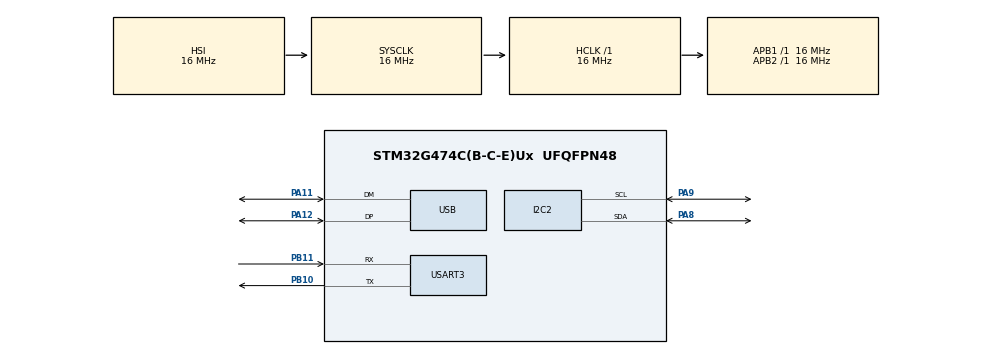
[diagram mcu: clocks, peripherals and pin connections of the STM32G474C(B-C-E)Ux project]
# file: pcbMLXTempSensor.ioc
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I2C2.Timing=0x00503D58
Mcu.Family=STM32G4
Mcu.Name=STM32G474C(B-C-E)Ux
Mcu.Package=UFQFPN48
NVIC.PriorityGroup=NVIC_PRIORITYGROUP_4
NVIC.USB_LP_IRQn=true\:0\:0\:false\:false\:true\:false\:true\:true
PA11.Mode=Device
PA11.Signal=USB_DM
PA12.Mode=Device
PA12.Signal=USB_DP
PA8.Mode=I2C
PA8.Signal=I2C2_SDA
PA9.Mode=I2C
PA9.Signal=I2C2_SCL
PB10.Mode=Asynchronous
PB10.Signal=USART3_TX
PB11.Mode=Asynchronous
PB11.Signal=USART3_RX
ProjectManager.HeapSize=0x200
ProjectManager.StackSize=0x400
ProjectManager.TargetToolchain=STM32CubeIDE
RCC.AHBFreq_Value=16000000
RCC.APB1Freq_Value=16000000
RCC.APB1TimFreq_Value=16000000
RCC.APB2Freq_Value=16000000
RCC.APB2TimFreq_Value=16000000
RCC.CortexFreq_Value=16000000
RCC.EXTERNAL_CLOCK_VALUE=12288000
RCC.HCLKFreq_Value=16000000
RCC.HSE_VALUE=8000000
RCC.HSI48_VALUE=48000000
RCC.HSI_VALUE=16000000
RCC.LSE_VALUE=32768
RCC.PLLN=12
RCC.PLLQ=RCC_PLLQ_DIV4
RCC.SYSCLKFreq_VALUE=16000000
RCC.USBFreq_Value=48000000
RCC.VCOOutputFreq_Value=192000000
USART3.VirtualMode-Asynchronous=VM_ASYNC
USB_DEVICE.CLASS_NAME_FS=CDC
USB_DEVICE.VirtualMode=Cdc
USB_DEVICE.VirtualModeFS=Cdc_FS
VP_SYS_VS_DBSignals.Mode=DisableDeadBatterySignals
VP_USB_DEVICE_VS_USB_DEVICE_CDC_FS.Mode=CDC_FS
board=custom

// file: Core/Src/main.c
/* USER CODE BEGIN Header */
/**
  ******************************************************************************
  * @file           : main.c
  * @brief          : Main program body
  ******************************************************************************
  * @attention
  *
  * Copyright (c) 2026 STMicroelectronics.
  * All rights reserved.
  *
  * This software is licensed under terms that can be found in the LICENSE file
  * in the root directory of this software component.
  * If no LICENSE file comes with this software, it is provided AS-IS.
  *
  ******************************************************************************
  */
/* USER CODE END Header */
#include "main.h"
#include "usb_device.h"

/* USER CODE BEGIN Includes */
#include <stdio.h>
#include <string.h>
#include <stdlib.h>
//#include "ssd1306.h"
#include "usbd_cdc_if.h"
/* USER CODE END Includes */

/* USER CODE BEGIN PD */
#define MLX90614_ADDR   (0x5A << 1)     // 0xB4
#define MLX90614_TOBJ1  0x07

/* USER CODE END PD */

I2C_HandleTypeDef hi2c2;

UART_HandleTypeDef huart3;

/* USER CODE BEGIN PV */

uint8_t i2cdata[2];
uint8_t txdata[50] = "Successfully communicating \n\r";
float temperature;
uint16_t raw_temp;
int temp_c_x100;
int temp_f_x100;

/* USER CODE END PV */

void SystemClock_Config(void);
static void MX_GPIO_Init(void);
static void MX_I2C2_Init(void);
static void MX_USART3_UART_Init(void);

/* USER CODE BEGIN 0 */

/**
  * @brief  Transmit a null-terminated string over USB CDC.
  *         Retries if the TX endpoint is busy.
  */
static void CDC_Print(const char *str)
{
    uint8_t retries = 3;
    uint8_t result;
    do {
        result = CDC_Transmit_FS((uint8_t*)str, (uint16_t)strlen(str));
        if (result == USBD_BUSY) HAL_Delay(1);
    } while (result == USBD_BUSY && --retries);
}

/* USER CODE END 0 */

int main(void)
{

  /* MCU Configuration--------------------------------------------------------*/

  /* Reset of all peripherals, Initializes the Flash interface and the Systick. */
  HAL_Init();

  /* Configure the system clock */
  SystemClock_Config();

  /* Initialize all configured peripherals */
  MX_GPIO_Init();
  MX_I2C2_Init();
  MX_USART3_UART_Init();
  MX_USB_Device_Init();
  /* USER CODE BEGIN 2 */

  // Give the host time to enumerate the USB device
  HAL_Delay(1500);

  HAL_StatusTypeDef st;

  st = HAL_I2C_IsDeviceReady(&hi2c2, MLX90614_ADDR, 3, 200);
  if (st == HAL_OK)
  {
      CDC_Print("MLX90614 ready\r\n");
  }
  else
  {
      CDC_Print("MLX90614 NOT ready\r\n");
  }

  //OLED_UI_Init();

  /* USER CODE END 2 */

  /* Infinite loop */
  while (1)
  {

    /* USER CODE BEGIN 3 */
	  HAL_StatusTypeDef st;
	      char msg[96];
	      uint8_t buf[3];   // LSB, MSB, PEC

	      // Check if MLX90614 responds on the bus
	      st = HAL_I2C_IsDeviceReady(&hi2c2, MLX90614_ADDR, 1, 50);
	      if (st != HAL_OK)
	      {
	          snprintf(msg, sizeof(msg),
	                   "MLX not ready st=%d err=%lu\r\n",
	                   (int)st,
	                   (unsigned long)HAL_I2C_GetError(&hi2c2));
	          CDC_Print(msg);
	          HAL_Delay(500);
	          continue;
	      }

	      // Read object temperature register (0x07)
	      st = HAL_I2C_Mem_Read(&hi2c2,
	                            MLX90614_ADDR,
	                            MLX90614_TOBJ1,
	                            I2C_MEMADD_SIZE_8BIT,
	                            buf,
	                            3,      // read 3 bytes: LSB, MSB, PEC
	                            200);

	      if (st == HAL_OK)
	      {
	          raw_temp = ((uint16_t)buf[1] << 8) | buf[0];

	          // TempC * 100 = raw * 2 - 27315
	          temp_c_x100 = (int)raw_temp * 2 - 27315;
	          temp_f_x100 = temp_c_x100 * 9 / 5 + 3200;

	          snprintf(msg, sizeof(msg),
	                   "raw=%u  TempC=%d.%02d C  TempF=%d.%02d F\r\n",
	                   (unsigned)raw_temp,
				       temp_c_x100 / 100,
				       abs(temp_c_x100 % 100),
				       temp_f_x100 / 100,
				       abs(temp_f_x100 % 100));
	      }
	      else
	      {
	          snprintf(msg, sizeof(msg),
	                   "I2C read fail st=%d err=%lu\r\n",
	                   (int)st,
	                   (unsigned long)HAL_I2C_GetError(&hi2c2));
	      }

	      CDC_Print(msg);

	     // OLED_UI_ShowTemps(temp_c_x100, temp_f_x100);

	      HAL_Delay(500);
  }

  /* USER CODE END 3 */
}

void SystemClock_Config(void)
{
  RCC_OscInitTypeDef RCC_OscInitStruct = {0};
  RCC_ClkInitTypeDef RCC_ClkInitStruct = {0};

  /** Configure the main internal regulator output voltage
  */
  HAL_PWREx_ControlVoltageScaling(PWR_REGULATOR_VOLTAGE_SCALE1);

  /** Initializes the RCC Oscillators according to the specified parameters
  * in the RCC_OscInitTypeDef structure.
  */
  RCC_OscInitStruct.OscillatorType = RCC_OSCILLATORTYPE_HSI;
  RCC_OscInitStruct.HSIState = RCC_HSI_ON;
  RCC_OscInitStruct.HSICalibrationValue = RCC_HSICALIBRATION_DEFAULT;
  RCC_OscInitStruct.PLL.PLLState = RCC_PLL_ON;
  RCC_OscInitStruct.PLL.PLLSource = RCC_PLLSOURCE_HSI;
  RCC_OscInitStruct.PLL.PLLM = RCC_PLLM_DIV1;
  RCC_OscInitStruct.PLL.PLLN = 12;
  RCC_OscInitStruct.PLL.PLLP = RCC_PLLP_DIV2;
  RCC_OscInitStruct.PLL.PLLQ = RCC_PLLQ_DIV4;
  RCC_OscInitStruct.PLL.PLLR = RCC_PLLR_DIV2;
  if (HAL_RCC_OscConfig(&RCC_OscInitStruct) != HAL_OK)
  {
    Error_Handler();
  }

  /** Initializes the CPU, AHB and APB buses clocks
  */
  RCC_ClkInitStruct.ClockType = RCC_CLOCKTYPE_HCLK|RCC_CLOCKTYPE_SYSCLK
                              |RCC_CLOCKTYPE_PCLK1|RCC_CLOCKTYPE_PCLK2;
  RCC_ClkInitStruct.SYSCLKSource = RCC_SYSCLKSOURCE_HSI;
  RCC_ClkInitStruct.AHBCLKDivider = RCC_SYSCLK_DIV1;
  RCC_ClkInitStruct.APB1CLKDivider = RCC_HCLK_DIV1;
  RCC_ClkInitStruct.APB2CLKDivider = RCC_HCLK_DIV1;

  if (HAL_RCC_ClockConfig(&RCC_ClkInitStruct, FLASH_LATENCY_0) != HAL_OK)
  {
    Error_Handler();
  }
}

static void MX_I2C2_Init(void)
{

  hi2c2.Instance = I2C2;
  hi2c2.Init.Timing = 0x00503D58;
  hi2c2.Init.OwnAddress1 = 0;
  hi2c2.Init.AddressingMode = I2C_ADDRESSINGMODE_7BIT;
  hi2c2.Init.DualAddressMode = I2C_DUALADDRESS_DISABLE;
  hi2c2.Init.OwnAddress2 = 0;
  hi2c2.Init.OwnAddress2Masks = I2C_OA2_NOMASK;
  hi2c2.Init.GeneralCallMode = I2C_GENERALCALL_DISABLE;
  hi2c2.Init.NoStretchMode = I2C_NOSTRETCH_DISABLE;
  if (HAL_I2C_Init(&hi2c2) != HAL_OK)
  {
    Error_Handler();
  }

  /** Configure Analogue filter
  */
  if (HAL_I2CEx_ConfigAnalogFilter(&hi2c2, I2C_ANALOGFILTER_ENABLE) != HAL_OK)
  {
    Error_Handler();
  }

  /** Configure Digital filter
  */
  if (HAL_I2CEx_ConfigDigitalFilter(&hi2c2, 0) != HAL_OK)
  {
    Error_Handler();
  }

}

static void MX_USART3_UART_Init(void)
{

  huart3.Instance = USART3;
  huart3.Init.BaudRate = 115200;
  huart3.Init.WordLength = UART_WORDLENGTH_8B;
  huart3.Init.StopBits = UART_STOPBITS_1;
  huart3.Init.Parity = UART_PARITY_NONE;
  huart3.Init.Mode = UART_MODE_TX_RX;
  huart3.Init.HwFlowCtl = UART_HWCONTROL_NONE;
  huart3.Init.OverSampling = UART_OVERSAMPLING_16;
  huart3.Init.OneBitSampling = UART_ONE_BIT_SAMPLE_DISABLE;
  huart3.Init.ClockPrescaler = UART_PRESCALER_DIV1;
  huart3.AdvancedInit.AdvFeatureInit = UART_ADVFEATURE_NO_INIT;
  if (HAL_UART_Init(&huart3) != HAL_OK)
  {
    Error_Handler();
  }
  if (HAL_UARTEx_SetTxFifoThreshold(&huart3, UART_TXFIFO_THRESHOLD_1_8) != HAL_OK)
  {
    Error_Handler();
  }
  if (HAL_UARTEx_SetRxFifoThreshold(&huart3, UART_RXFIFO_THRESHOLD_1_8) != HAL_OK)
  {
    Error_Handler();
  }
  if (HAL_UARTEx_DisableFifoMode(&huart3) != HAL_OK)
  {
    Error_Handler();
  }

}

static void MX_GPIO_Init(void)
{

  /* GPIO Ports Clock Enable */
  __HAL_RCC_GPIOB_CLK_ENABLE();
  __HAL_RCC_GPIOA_CLK_ENABLE();

}

void Error_Handler(void)
{
  __disable_irq();
  while (1)
  {
  }
}
